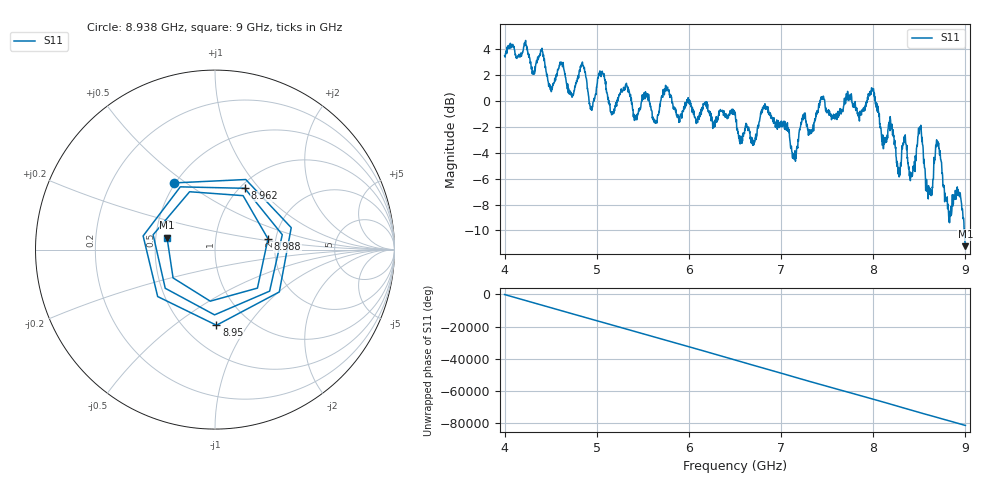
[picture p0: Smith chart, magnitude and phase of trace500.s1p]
! Created with skrf 1.8.0 (http://scikit-rf.org).
# Hz S RI R 50.0
!freq ReS11 ImS11
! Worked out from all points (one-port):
!   1601 points, 4 GHz to 9 GHz, reference 50 ohm
!   lowest |S11| = -11.2 dB at 9 GHz (marker M1), VSWR 1.76, Z = 28.7 + j4.08 ohm
!   |S11| at or under -10 dB: 8.986354 GHz to 8.990502 GHz (4.147 MHz wide, 0.0461 % of centre); 8.991285 GHz to end of sweep
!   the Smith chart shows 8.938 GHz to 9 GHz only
!   S11 on the Smith chart (normalised r, x): 8.938 GHz: 0.49, +0.45; 8.95 GHz: 0.71, -0.73; 8.962 GHz: 1.05, +0.84; 8.988 GHz: 1.82, +0.24; 9 GHz: 0.57, +0.08
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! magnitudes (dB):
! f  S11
! 4 GHz  3.5
! 4.5 GHz  1.1
! 4.625 GHz  2.8
! 4.725 GHz  0.5
! 4.85 GHz  2.7
! 4.941 GHz  -0.7
! 5.044 GHz  2.2
! 5.169 GHz  -0.9
! 5.25 GHz  0.6
! 5.875 GHz  -1.3
! 6.5 GHz  -0.8
! 6.697 GHz  -3.1
! 6.838 GHz  -0.5
! 7.125 GHz  -4.4
! 7.447 GHz  0.2
! 7.75 GHz  0.5
! 7.988 GHz  0.9
! 8.112 GHz  -3.7
! 8.375 GHz  -4.8
! 8.509 GHz  -2.2
! 8.594 GHz  -7.5
! 8.7 GHz  -3.1
! 8.825 GHz  -8.5
! 8.938 GHz  -7.2
! 8.95 GHz  -7.5
! 8.962 GHz  -8.4
! 8.988 GHz  -10.4
! 9 GHz  -11.2
